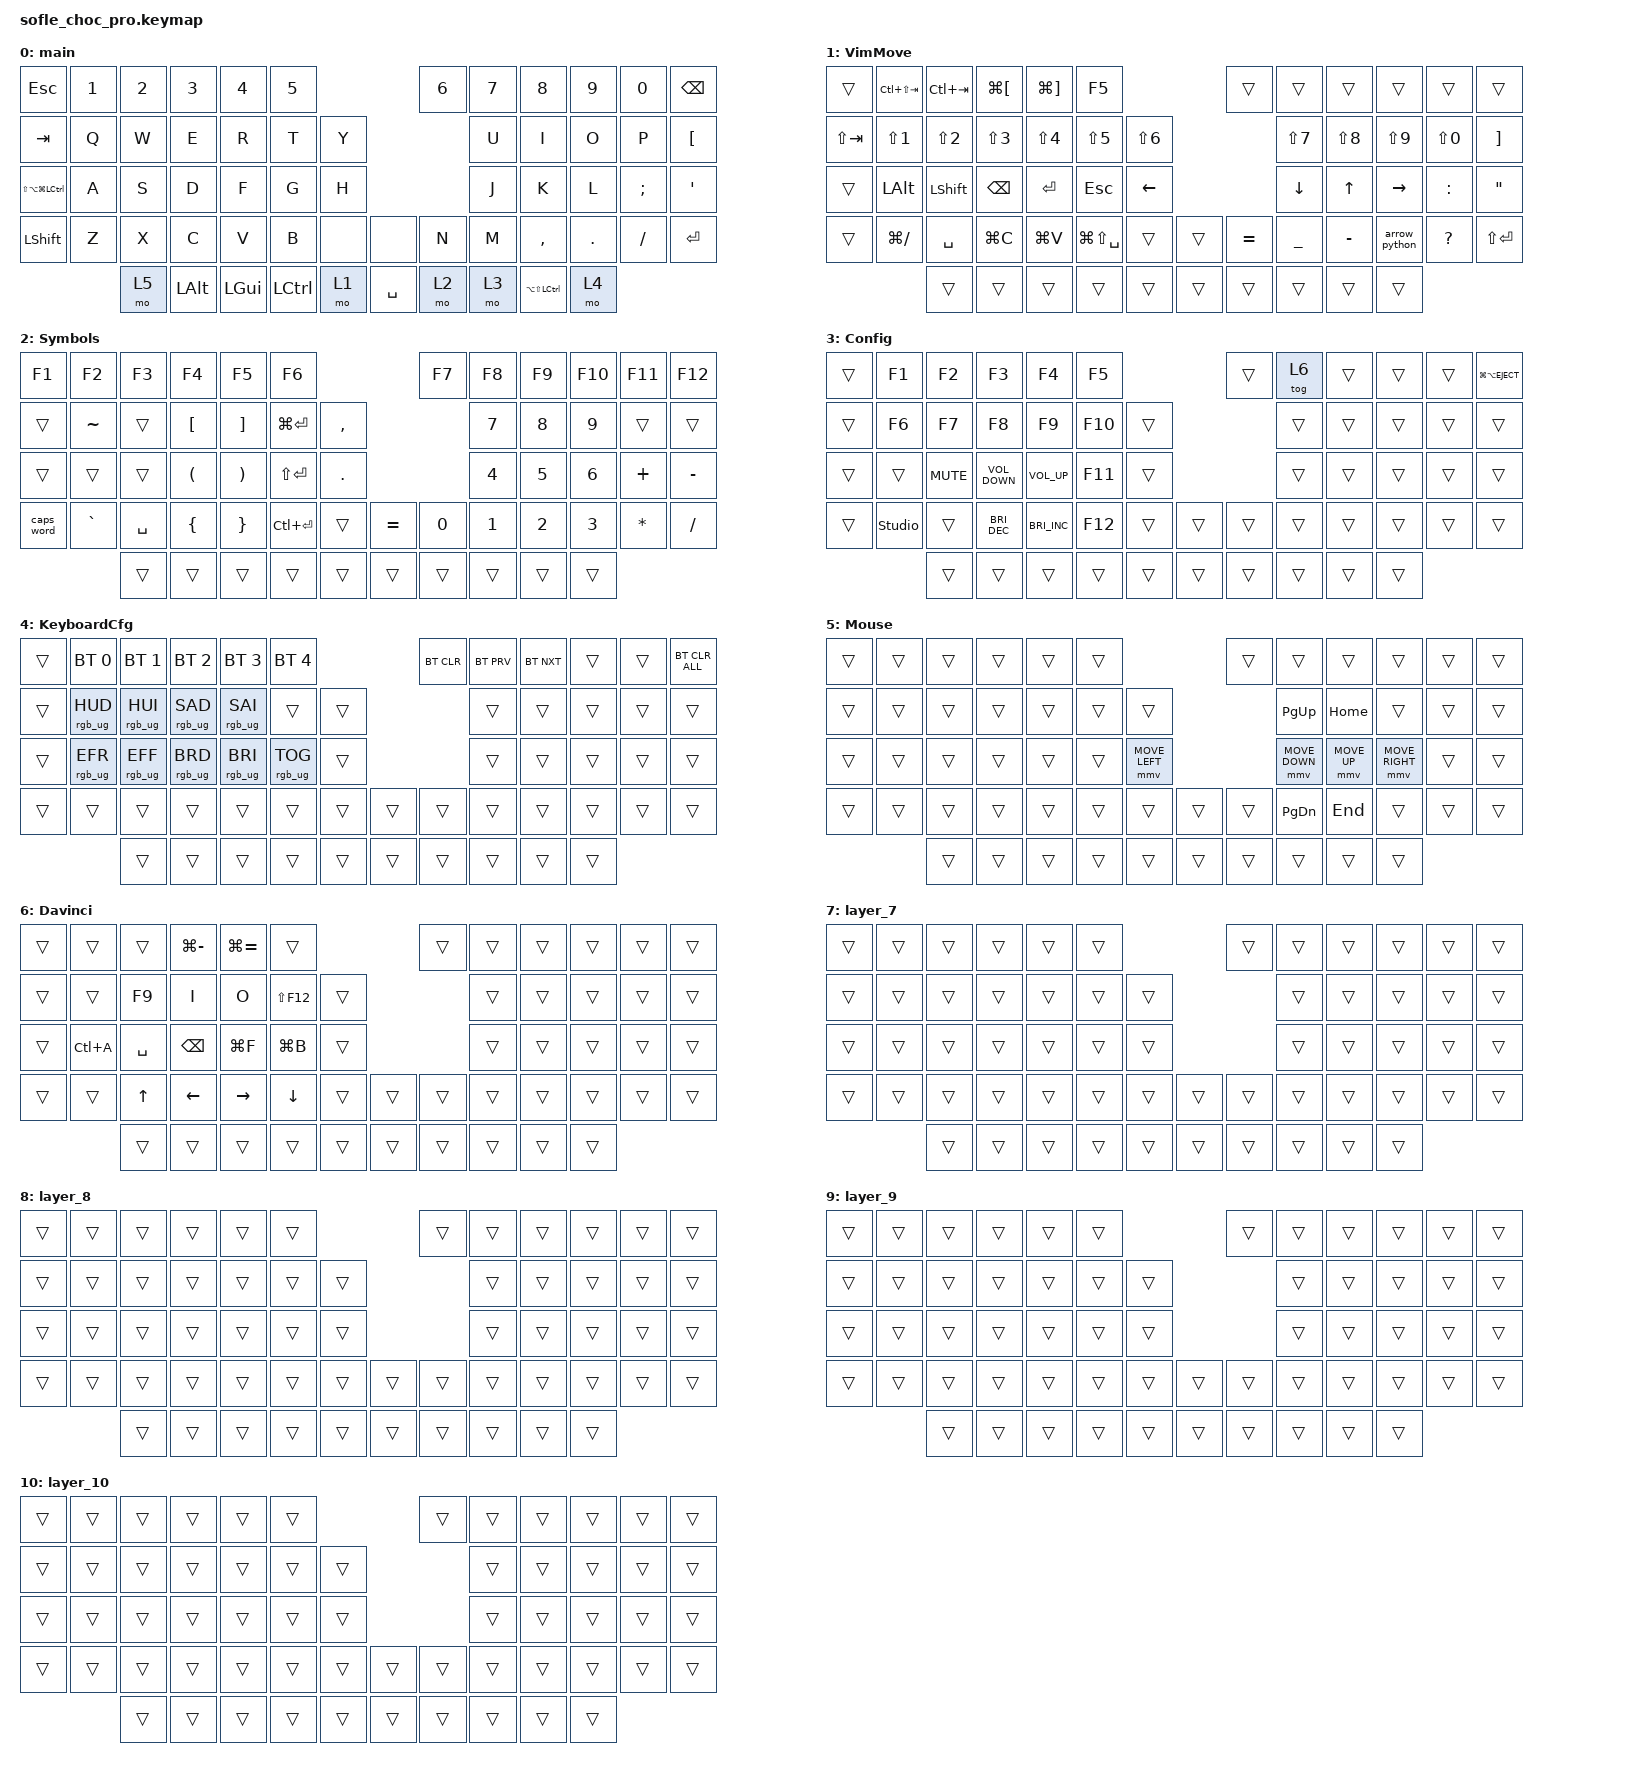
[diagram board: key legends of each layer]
/*
* Copyright (c) 2020 The ZMK Contributors
*
* SPDX-License-Identifier: MIT
*/

#include <behaviors.dtsi>
#include <dt-bindings/zmk/bt.h>
#include <dt-bindings/zmk/keys.h>
#include <dt-bindings/zmk/pointing.h>
#include <dt-bindings/zmk/rgb.h>

#define MAIN            0
#define VIMMOVE         1
#define SYMBOLS         2
#define CONFIG          3
#define KEYBOARDCFG     4

/ {
    macros {
        arrow_python: arrow_python {
            compatible = "zmk,behavior-macro";
            #binding-cells = <0>;
            bindings = <&kp MINUS &kp GT>;
            label = "ARROW_PYTHON";
        };
    };

    keymap {
        compatible = "zmk,keymap";

        Main {
            display-name = "main";
            bindings = <
&kp ESCAPE             &kp N1  &kp N2  &kp N3    &kp N4        &kp N5                       &kp N6  &kp N7  &kp N8             &kp N9   &kp N0    &kp BACKSPACE
&kp TAB                &kp Q   &kp W   &kp E     &kp R         &kp T      &kp Y                     &kp U   &kp I              &kp O    &kp P     &kp LEFT_BRACKET
&kp LS(LA(LG(LCTRL)))  &kp A   &kp S   &kp D     &kp F         &kp G      &kp H                     &kp J   &kp K              &kp L    &kp SEMI  &kp SQT
&kp LSHFT              &kp Z   &kp X   &kp C     &kp V         &kp B      &none  &none      &kp N   &kp M   &kp COMMA          &kp DOT  &kp FSLH  &kp ENTER
                               &mo 5   &kp LALT  &kp LEFT_GUI  &kp LCTRL  &mo 1  &kp SPACE  &mo 2   &mo 3   &kp LA(LS(LCTRL))  &mo 4
            >;

            label = "Main";
        };

        VimMove {
            bindings = <
&trans       &kp LC(LS(TAB))   &kp LC(TAB)       &kp LG(LEFT_BRACKET)  &kp LG(RIGHT_BRACKET)  &kp F5                                       &trans     &trans          &trans        &trans           &trans        &trans
&kp LS(TAB)  &kp LS(NUMBER_1)  &kp LS(NUMBER_2)  &kp LS(NUMBER_3)      &kp LS(NUMBER_4)       &kp LS(N5)         &kp LS(NUMBER_6)                     &kp LS(N7)      &kp LS(N8)    &kp LS(N9)       &kp LS(N0)    &kp RIGHT_BRACKET
&trans       &kp LEFT_ALT      &kp LEFT_SHIFT    &kp BACKSPACE         &kp ENTER              &kp ESCAPE         &kp LEFT_ARROW                       &kp DOWN_ARROW  &kp UP_ARROW  &kp RIGHT_ARROW  &kp COLON     &kp DOUBLE_QUOTES
&trans       &kp LG(SLASH)     &kp SPACE         &kp LG(C)             &kp LG(V)              &kp LG(LS(SPACE))  &trans            &trans  &kp EQUAL  &kp UNDERSCORE  &kp MINUS     &arrow_python    &kp QUESTION  &kp LS(ENTER)
                               &trans            &trans                &trans                 &trans             &trans            &trans  &trans     &trans          &trans        &trans
            >;

            label = "VimMove";
        };

        Symbols {
            bindings = <
&kp F1      &kp F2     &kp F3     &kp F4                &kp F5                 &kp F6                                &kp F7  &kp F8  &kp F9  &kp F10  &kp F11       &kp F12
&trans      &kp TILDE  &trans     &kp LBKT              &kp RBKT               &kp LG(ENTER)  &kp COMMA                      &kp N7  &kp N8  &kp N9   &trans        &trans
&trans      &trans     &trans     &kp LEFT_PARENTHESIS  &kp RIGHT_PARENTHESIS  &kp LS(ENTER)  &kp PERIOD                     &kp N4  &kp N5  &kp N6   &kp PLUS      &kp MINUS
&caps_word  &kp GRAVE  &kp SPACE  &kp LEFT_BRACE        &kp RIGHT_BRACE        &kp LC(ENTER)  &trans      &kp EQUAL  &kp N0  &kp N1  &kp N2  &kp N3   &kp ASTERISK  &kp FSLH
                       &trans     &trans                &trans                 &trans         &trans      &trans     &trans  &trans  &trans  &trans
            >;

            label = "Symbols";
        };

        Config {
            bindings = <
&trans  &kp F1          &kp F2      &kp F3                &kp F4                &kp F5                   &trans  &tog 6  &trans  &trans  &trans  &kp LG(LA(K_EJECT))
&trans  &kp F6          &kp F7      &kp F8                &kp F9                &kp F10  &trans                  &trans  &trans  &trans  &trans  &trans
&trans  &trans          &kp K_MUTE  &kp C_VOLUME_DOWN     &kp C_VOLUME_UP       &kp F11  &trans                  &trans  &trans  &trans  &trans  &trans
&trans  &studio_unlock  &trans      &kp C_BRIGHTNESS_DEC  &kp C_BRIGHTNESS_INC  &kp F12  &trans  &trans  &trans  &trans  &trans  &trans  &trans  &trans
                        &trans      &trans                &trans                &trans   &trans  &trans  &trans  &trans  &trans  &trans
            >;

            label = "Config";
        };

        KeyboardCfg {
            bindings = <
&trans  &bt BT_SEL 0     &bt BT_SEL 1     &bt BT_SEL 2     &bt BT_SEL 3     &bt BT_SEL 4                     &bt BT_CLR  &bt BT_PRV  &bt BT_NXT  &trans  &trans  &bt BT_CLR_ALL
&trans  &rgb_ug RGB_HUD  &rgb_ug RGB_HUI  &rgb_ug RGB_SAD  &rgb_ug RGB_SAI  &trans           &trans                      &trans      &trans      &trans  &trans  &trans
&trans  &rgb_ug RGB_EFR  &rgb_ug RGB_EFF  &rgb_ug RGB_BRD  &rgb_ug RGB_BRI  &rgb_ug RGB_TOG  &trans                      &trans      &trans      &trans  &trans  &trans
&trans  &trans           &trans           &trans           &trans           &trans           &trans  &trans  &trans      &trans      &trans      &trans  &trans  &trans
                         &trans           &trans           &trans           &trans           &trans  &trans  &trans      &trans      &trans      &trans
            >;

            label = "KeyboardCfg";
        };

        Mouse {
            bindings = <
&trans  &trans  &trans  &trans  &trans  &trans                          &trans  &trans          &trans        &trans           &trans  &trans
&trans  &trans  &trans  &trans  &trans  &trans  &trans                          &kp PAGE_UP     &kp HOME      &trans           &trans  &trans
&trans  &trans  &trans  &trans  &trans  &trans  &mmv MOVE_LEFT                  &mmv MOVE_DOWN  &mmv MOVE_UP  &mmv MOVE_RIGHT  &trans  &trans
&trans  &trans  &trans  &trans  &trans  &trans  &trans          &trans  &trans  &kp PAGE_DOWN   &kp END       &trans           &trans  &trans
                &trans  &trans  &trans  &trans  &trans          &trans  &trans  &trans          &trans        &trans
            >;

            label = "Mouse";
        };

        Davinci {
            bindings = <
&trans  &trans     &trans        &kp LG(MINUS)   &kp LG(EQUAL)    &trans                          &trans  &trans  &trans  &trans  &trans  &trans
&trans  &trans     &kp F9        &kp I           &kp O            &kp LS(F12)     &trans                  &trans  &trans  &trans  &trans  &trans
&trans  &kp LC(A)  &kp SPACE     &kp BACKSPACE   &kp LG(F)        &kp LG(B)       &trans                  &trans  &trans  &trans  &trans  &trans
&trans  &trans     &kp UP_ARROW  &kp LEFT_ARROW  &kp RIGHT_ARROW  &kp DOWN_ARROW  &trans  &trans  &trans  &trans  &trans  &trans  &trans  &trans
                   &trans        &trans          &trans           &trans          &trans  &trans  &trans  &trans  &trans  &trans
            >;

            label = "Davinci";
        };

        layer_7 {
            bindings = <
&trans  &trans  &trans  &trans  &trans  &trans                  &trans  &trans  &trans  &trans  &trans  &trans
&trans  &trans  &trans  &trans  &trans  &trans  &trans                  &trans  &trans  &trans  &trans  &trans
&trans  &trans  &trans  &trans  &trans  &trans  &trans                  &trans  &trans  &trans  &trans  &trans
&trans  &trans  &trans  &trans  &trans  &trans  &trans  &trans  &trans  &trans  &trans  &trans  &trans  &trans
                &trans  &trans  &trans  &trans  &trans  &trans  &trans  &trans  &trans  &trans
            >;
        };

        layer_8 {
            bindings = <
&trans  &trans  &trans  &trans  &trans  &trans                  &trans  &trans  &trans  &trans  &trans  &trans
&trans  &trans  &trans  &trans  &trans  &trans  &trans                  &trans  &trans  &trans  &trans  &trans
&trans  &trans  &trans  &trans  &trans  &trans  &trans                  &trans  &trans  &trans  &trans  &trans
&trans  &trans  &trans  &trans  &trans  &trans  &trans  &trans  &trans  &trans  &trans  &trans  &trans  &trans
                &trans  &trans  &trans  &trans  &trans  &trans  &trans  &trans  &trans  &trans
            >;
        };

        layer_9 {
            bindings = <
&trans  &trans  &trans  &trans  &trans  &trans                  &trans  &trans  &trans  &trans  &trans  &trans
&trans  &trans  &trans  &trans  &trans  &trans  &trans                  &trans  &trans  &trans  &trans  &trans
&trans  &trans  &trans  &trans  &trans  &trans  &trans                  &trans  &trans  &trans  &trans  &trans
&trans  &trans  &trans  &trans  &trans  &trans  &trans  &trans  &trans  &trans  &trans  &trans  &trans  &trans
                &trans  &trans  &trans  &trans  &trans  &trans  &trans  &trans  &trans  &trans
            >;
        };

        layer_10 {
            bindings = <
&trans  &trans  &trans  &trans  &trans  &trans                  &trans  &trans  &trans  &trans  &trans  &trans
&trans  &trans  &trans  &trans  &trans  &trans  &trans                  &trans  &trans  &trans  &trans  &trans
&trans  &trans  &trans  &trans  &trans  &trans  &trans                  &trans  &trans  &trans  &trans  &trans
&trans  &trans  &trans  &trans  &trans  &trans  &trans  &trans  &trans  &trans  &trans  &trans  &trans  &trans
                &trans  &trans  &trans  &trans  &trans  &trans  &trans  &trans  &trans  &trans
            >;
        };
    };
};
